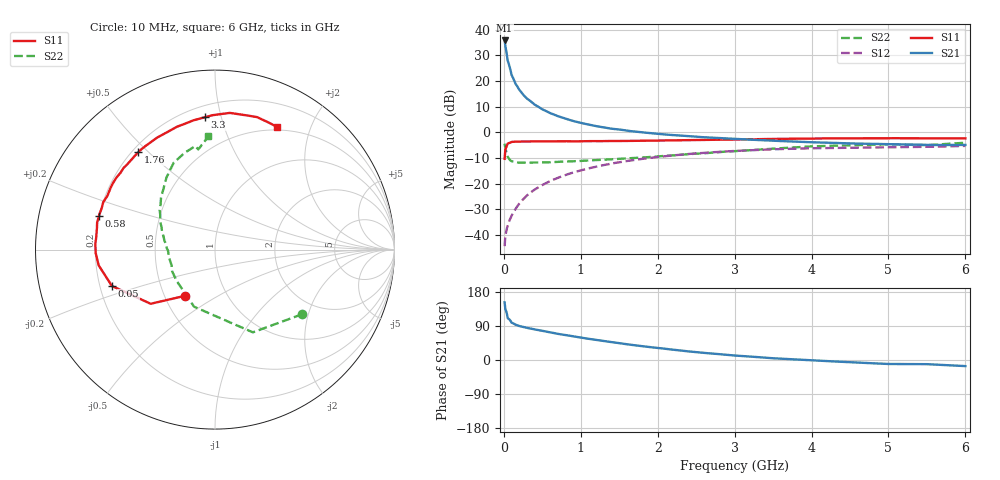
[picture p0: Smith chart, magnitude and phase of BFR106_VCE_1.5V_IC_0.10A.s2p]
! Infineon Technologies  Discrete & RF Semiconductors
! BFR106
! VCE =  1.5 V,  IC = 0.10 A
! Common Emitter S-Parameters:  Nov 2015
# GHz  S  MA  R  50
!  f  S11  S21  S12  S22
! GHz  MAG  ANG  MAG  ANG  MAG  ANG  MAG  ANG
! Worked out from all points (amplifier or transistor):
!   210 points, 10 MHz to 6 GHz, reference 50 ohm
!   highest |S21| = 35.8 dB at 10 MHz (marker M1)
!   |S21| within 3 dB of that: start of sweep to 25.35 MHz
!   unconditionally stable (mu >= 1): 87.32 MHz to end of sweep
!   at 185 MHz: K = 1.18, MAG = 20.3 dB, |S12| = -28.3 dB
!   at 1.52 GHz: K = 1.15, MAG = 3.9 dB, |S12| = -11.5 dB
!   at 6 GHz: K = 1.04, MAG = -1.0 dB, |S12| = -5.2 dB
!   S11 on the Smith chart (normalised r, x): 10 MHz: 0.64, -0.36; 50 MHz: 0.25, -0.16; 580 MHz: 0.20, +0.14; 1.76 GHz: 0.22, +0.47; 3.3 GHz: 0.27, +0.89; 6 GHz: 0.46, +1.52
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0.01  0.306 -122.8  61.98 152.1  0.0061 66.7  0.6041 -36.6
0.02  0.4686 -139.9  48.37 133.8  0.0098 58.6  0.507 -65.4
0.05  0.6093 -160.6  25.07 110.5  0.0155 55.4  0.3389 -110.1
0.1  0.6541 -172.3  13.25 98.6  0.0238 62.6  0.2759 -140.7
0.15  0.6654 -178.2  8.981 93.1  0.032 67.7  0.2677 -153.2
0.2  0.6659 179.1  6.815 89.7  0.041 70.1  0.2574 -160.0
0.24  0.6672 177.1  5.714 87.5  0.048 71.2  0.2576 -164.5
0.26  0.667 176.2  5.268 86.4  0.0516 71.6  0.2581 -166.1
0.3  0.6652 174.4  4.585 84.7  0.0593 72.2  0.2592 -168.2
0.4  0.668 169.9  3.494 80.6  0.077 72.7  0.2597 -173.2
0.5  0.674 167.0  2.828 76.9  0.0945 72.1  0.2606 -176.8
0.58  0.6731 163.8  2.478 73.7  0.109 71.3  0.2622 -178.6
0.8  0.6765 157.0  1.855 65.8  0.1481 67.9  0.272 176.1
1.02  0.6756 149.5  1.513 58.6  0.186 64.3  0.28 172.0
1.3  0.6784 141.0  1.251 49.9  0.2319 59.1  0.2944 166.2
1.76  0.691 128.2  1.021 37.5  0.3005 50.5  0.3224 157.4
2.02  0.6966 121.7  0.934 31.4  0.3357 45.6  0.345 152.4
3.1  0.7325 97.8  0.737 10.5  0.4428 26.4  0.4414 130.8
3.3  0.7395 94.4  0.713 7.6  0.4562 23.3  0.4621 127.2
4.1  0.7656 82.5  0.638 -1.9  0.4945 11.6  0.5406 113.8
5.1  0.7727 71.3  0.588 -10.6  0.5165 0.4  0.5831 100.5
6  0.7658 63.3  0.572 -16.1  0.5472 -8.2  0.6313 93.3
